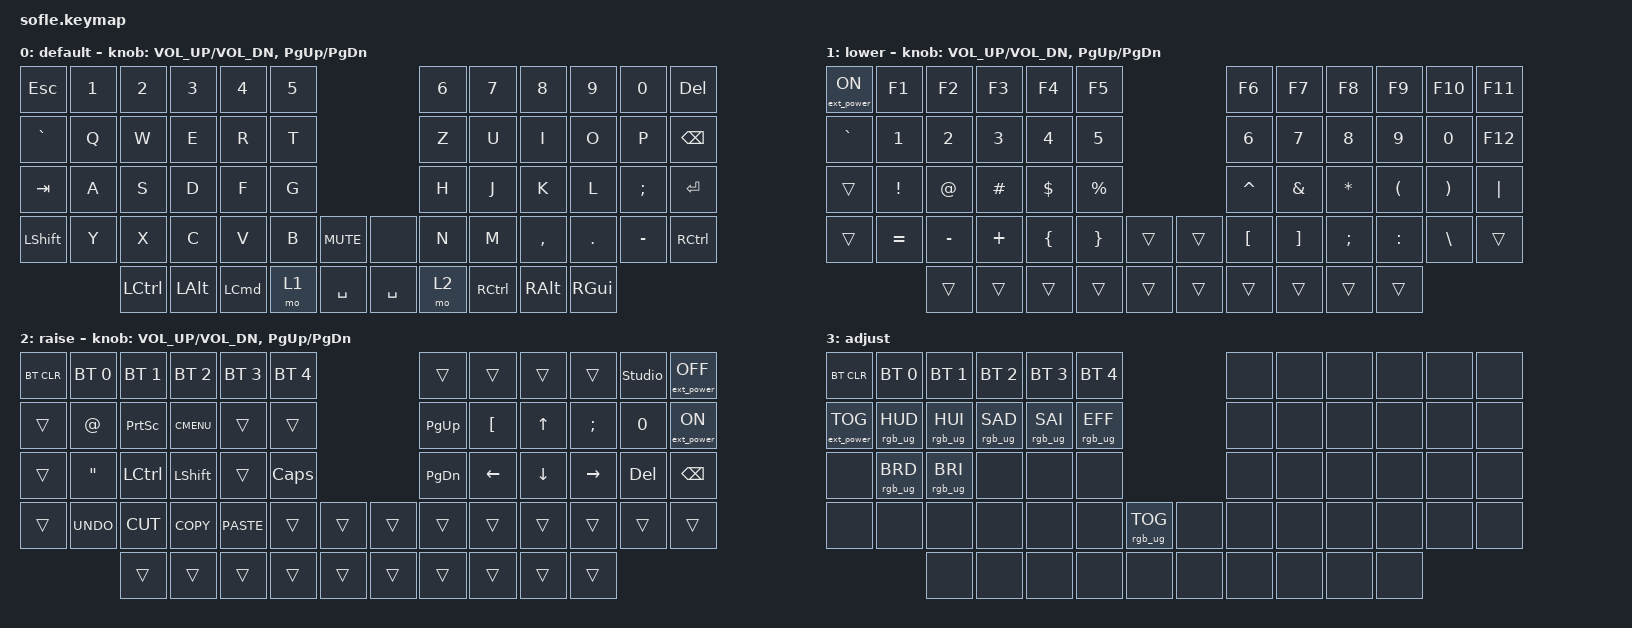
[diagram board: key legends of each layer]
/*
 * Copyright (c) 2020 The ZMK Contributors
 *
 * SPDX-License-Identifier: MIT
 */

#include <behaviors.dtsi>
#include <dt-bindings/zmk/bt.h>
#include <dt-bindings/zmk/ext_power.h>
#include <dt-bindings/zmk/keys.h>
#include <dt-bindings/zmk/rgb.h>

#define BASE 0
#define LOWER 1
#define RAISE 2
#define ADJUST 3

/ {
    // Activate ADJUST layer by pressing raise and lower

    conditional_layers {
        compatible = "zmk,conditional-layers";

        adjust_layer {
            if-layers = <1 2>;
            then-layer = <3>;
        };
    };

    keymap {
        compatible = "zmk,keymap";

        default_layer {
            display-name = "default";

            // ------------------------------------------------------------------------------------------------------------
            // |   `   |  1  |  2  |  3   |  4   |  5   |                   |  6   |  7    |  8    |  9   |   0   | DEL   |
            // |  ESC  |  Q  |  W  |  E   |  R   |  T   |                   |  Z   |  U    |  I    |  O   |   P   | BKSPC |
            // |  TAB  |  A  |  S  |  D   |  F   |  G   |                   |  H   |  J    |  K    |  L   |   ;   |   '   |
            // | SHIFT |  Y  |  X  |  C   |  V   |  B   |  MUTE  |  |       |  N   |  M    |  ,    |  .   |   /   | ENTER |
            //               | GUI | ALT  | CTRL | LOWER|  ENTER |  | SPACE | RAISE| CTRL  | ALT   | GUI  |

            bindings = <
&kp ESCAPE  &kp N1  &kp N2     &kp N3    &kp N4    &kp N5                           &kp N6  &kp N7     &kp N8     &kp N9    &kp N0     &kp DELETE
&kp GRAVE   &kp Q   &kp W      &kp E     &kp R     &kp T                            &kp Z   &kp U      &kp I      &kp O     &kp P      &kp BSPC
&kp TAB     &kp A   &kp S      &kp D     &kp F     &kp G                            &kp H   &kp J      &kp K      &kp L     &kp SEMI   &kp ENTER
&kp LSHFT   &kp Y   &kp X      &kp C     &kp V     &kp B   &kp C_MUTE    &none      &kp N   &kp M      &kp COMMA  &kp DOT   &kp MINUS  &kp RCTRL
                    &kp LCTRL  &kp LALT  &kp LCMD  &mo 1   &kp SPACE     &kp SPACE  &mo 2   &kp RCTRL  &kp RALT   &kp RGUI
            >;

            sensor-bindings = <&inc_dec_kp C_VOL_UP C_VOL_DN &inc_dec_kp PG_UP PG_DN>;
        };

        lower_layer {
            display-name = "lower";

            // TODO: Some binds are waiting for shifted keycode support.
            // ------------------------------------------------------------------------------------------------------------
            // |       |  F1 |  F2 |  F3  |  F4  |  F5  |                   |  F6  |  F7   |  F8   |  F9  |  F10  |  F11  |
            // |   `   |  1  |  2  |  3   |  4   |  5   |                   |  6   |  7    |  8    |  9   |   0   |  F12  |
            // |       |  !  |  @  |  #   |  $   |  %   |                   |  ^   |  &    |  *    |  (   |   )   |   |   |
            // |       |  =  |  -  |  +   |  {   |  }   |        |  |       |  [   |  ]    |  ;    |  :   |   \   |       |
            //               |     |      |      |      |        |  |       |      |       |       |      |

            bindings = <
&ext_power EP_ON  &kp F1     &kp F2     &kp F3    &kp F4    &kp F5                       &kp F6     &kp F7    &kp F8     &kp F9     &kp F10   &kp F11
&kp GRAVE         &kp N1     &kp N2     &kp N3    &kp N4    &kp N5                       &kp N6     &kp N7    &kp N8     &kp N9     &kp N0    &kp F12
&trans            &kp EXCL   &kp AT     &kp HASH  &kp DLLR  &kp PRCNT                    &kp CARET  &kp AMPS  &kp ASTRK  &kp LPAR   &kp RPAR  &kp PIPE
&trans            &kp EQUAL  &kp MINUS  &kp PLUS  &kp LBRC  &kp RBRC   &trans    &trans  &kp LBKT   &kp RBKT  &kp SEMI   &kp COLON  &kp BSLH  &trans
                             &trans     &trans    &trans    &trans     &trans    &trans  &trans     &trans    &trans     &trans
            >;

            sensor-bindings = <&inc_dec_kp C_VOL_UP C_VOL_DN &inc_dec_kp PG_UP PG_DN>;
        };

        raise_layer {
            display-name = "raise";

            // ------------------------------------------------------------------------------------------------------------
            // | BTCLR | BT1  | BT2  |  BT3  |  BT4  |  BT5 |                |      |      |       |      | ZMK_S | EPOFF |
            // |       | INS  | PSCR | GUI   |       |      |                | PGUP |      |   ^   |      |       | EP_ON |
            // |       | ALT  | CTRL | SHIFT |       | CAPS |                | PGDN |   <- |   v   |  ->  |  DEL  | BKSPC |
            // |       | UNDO | CUT  | COPY  | PASTE |      |      |  |      |      |      |       |      |       |       |
            //                |      |       |       |      |      |  |      |      |      |       |      |

            bindings = <
&bt BT_CLR  &bt BT_SEL 0       &bt BT_SEL 1  &bt BT_SEL 2  &bt BT_SEL 3  &bt BT_SEL 4                    &trans     &trans    &trans    &trans     &studio_unlock   &ext_power EP_OFF
&trans      &kp AT             &kp PSCRN     &kp K_CMENU   &trans        &trans                          &kp PG_UP  &kp LBKT  &kp UP    &kp SEMI   &kp N0   &ext_power EP_ON
&trans      &kp DOUBLE_QUOTES  &kp LCTRL     &kp LSHFT     &trans        &kp CLCK                        &kp PG_DN  &kp LEFT  &kp DOWN  &kp RIGHT  &kp DEL  &kp BSPC
&trans      &kp K_UNDO         &kp K_CUT     &kp K_COPY    &kp K_PASTE   &trans        &trans    &trans  &trans     &trans    &trans    &trans     &trans   &trans
                               &trans        &trans        &trans        &trans        &trans    &trans  &trans     &trans    &trans    &trans
            >;

            sensor-bindings = <&inc_dec_kp C_VOL_UP C_VOL_DN &inc_dec_kp PG_UP PG_DN>;
        };

        adjust_layer {
            // ----------------------------------------------------------------------------------------------------------------------------
            // | BTCLR  |  BT1    |  BT2    |   BT3   |   BT4   |   BT5   |                  |      |      |       |      |       |       |
            // | EXTPWR | RGB_HUD | RGB_HUI | RGB_SAD | RGB_SAI | RGB_EFF |                  |      |      |       |      |       |       |
            // |        | RGB_BRD | RGB_BRI |         |         |         |                  |      |      |       |      |       |       |
            // |        |         |         |         |         |         | RGB_TOG | |      |      |      |       |      |       |       |
            //                    |         |         |         |         |         | |      |      |      |       |      |

            display-name = "adjust";
            bindings = <
&bt BT_CLR         &bt BT_SEL 0     &bt BT_SEL 1     &bt BT_SEL 2     &bt BT_SEL 3     &bt BT_SEL 4                               &none  &none  &none  &none  &none  &none
&ext_power EP_TOG  &rgb_ug RGB_HUD  &rgb_ug RGB_HUI  &rgb_ug RGB_SAD  &rgb_ug RGB_SAI  &rgb_ug RGB_EFF                            &none  &none  &none  &none  &none  &none
&none              &rgb_ug RGB_BRD  &rgb_ug RGB_BRI  &none            &none            &none                                      &none  &none  &none  &none  &none  &none
&none              &none            &none            &none            &none            &none            &rgb_ug RGB_TOG    &none  &none  &none  &none  &none  &none  &none
                                    &none            &none            &none            &none            &none              &none  &none  &none  &none  &none
            >;
        };
    };
};
